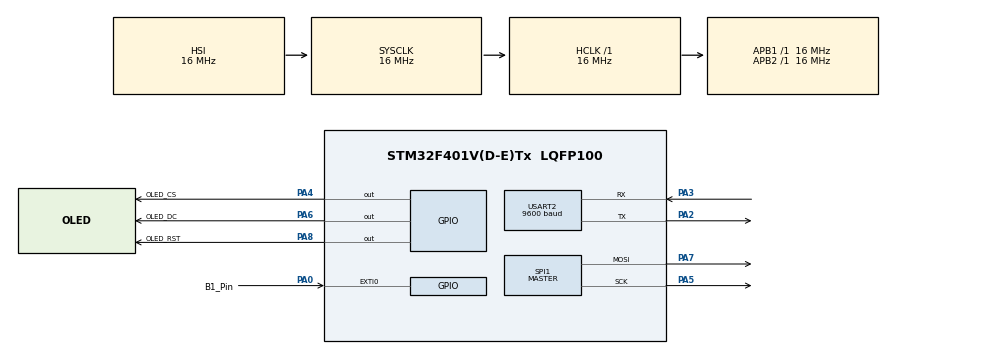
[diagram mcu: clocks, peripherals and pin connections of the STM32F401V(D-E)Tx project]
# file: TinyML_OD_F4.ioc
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Mcu.Family=STM32F4
Mcu.Name=STM32F401V(D-E)Tx
Mcu.Package=LQFP100
NVIC.EXTI0_IRQn=true\:0\:0\:false\:false\:true\:true\:true\:true
NVIC.PriorityGroup=NVIC_PRIORITYGROUP_4
NVIC.USART2_IRQn=true\:0\:0\:false\:false\:true\:true\:true\:true
PA0-WKUP.GPIO_Label=B1_Pin
PA0-WKUP.GPIO_ModeDefaultEXTI=GPIO_MODE_IT_FALLING
PA0-WKUP.GPIO_PuPd=GPIO_PULLUP
PA0-WKUP.Signal=GPXTI0
PA13.Mode=Serial_Wire
PA13.Signal=SYS_JTMS-SWDIO
PA14.Mode=Serial_Wire
PA14.Signal=SYS_JTCK-SWCLK
PA2.Mode=Asynchronous
PA2.Signal=USART2_TX
PA3.Mode=Asynchronous
PA3.Signal=USART2_RX
PA4.GPIO_Label=OLED_CS
PA4.PinState=GPIO_PIN_SET
PA4.Signal=GPIO_Output
PA5.Mode=TX_Only_Simplex_Unidirect_Master
PA5.Signal=SPI1_SCK
PA6.GPIO_Label=OLED_DC
PA6.PinState=GPIO_PIN_SET
PA6.Signal=GPIO_Output
PA7.Mode=TX_Only_Simplex_Unidirect_Master
PA7.Signal=SPI1_MOSI
PA8.GPIO_Label=OLED_RST
PA8.PinState=GPIO_PIN_SET
PA8.Signal=GPIO_Output
ProjectManager.HeapSize=0x4000
ProjectManager.StackSize=0x2000
ProjectManager.TargetToolchain=MDK-ARM V5.32
RCC.48MHZClocksFreq_Value=32000000
RCC.AHBFreq_Value=16000000
RCC.APB1Freq_Value=16000000
RCC.APB1TimFreq_Value=16000000
RCC.APB2Freq_Value=16000000
RCC.APB2TimFreq_Value=16000000
RCC.CortexFreq_Value=16000000
RCC.HCLKFreq_Value=16000000
RCC.HSE_VALUE=25000000
RCC.HSI_VALUE=16000000
RCC.LSE_VALUE=32768
RCC.PLLM=8
RCC.PLLN=64
RCC.SYSCLKFreq_VALUE=16000000
RCC.VCOOutputFreq_Value=128000000
SPI1.Direction=SPI_DIRECTION_2LINES
SPI1.Mode=SPI_MODE_MASTER
SPI1.VirtualType=VM_MASTER
STMicroelectronics.X-CUBE-AI.10.0.0.ActivationBufferSizeList=45016
STMicroelectronics.X-CUBE-AI.10.0.0.ActivationBuffers=pool0
STMicroelectronics.X-CUBE-AI.10.0.0.ActivationNames=pool0
STMicroelectronics.X-CUBE-AI.10.0.0.ActivationSizes=AI_OB_MODEL_DATA_ACTIVATION_1_SIZE
STMicroelectronics.X-CUBE-AI.10.0.0.HeapSize=0x4000
STMicroelectronics.X-CUBE-AI.10.0.0.InternalRamActivationBufferMaxSize=AI_OB_MODEL_DATA_ACTIVATIONS_SIZE
STMicroelectronics.X-CUBE-AI.10.0.0.LatestDirectoryUsed-fb2fbbf6d10c69e260894ae3618b915720636bb1a9a1eeecbf556834b52556cf=D\:\\CreateProject\\TinyML_Obstacle Detection\\Ai_Model
STMicroelectronics.X-CUBE-AI.10.0.0.MaximumNumberOfInputLayer=1
STMicroelectronics.X-CUBE-AI.10.0.0.MaximumNumberOfOutputLayer=1
STMicroelectronics.X-CUBE-AI.10.0.0.MaximumSizeOfInputLayer=1
STMicroelectronics.X-CUBE-AI.10.0.0.MaximumSizeOfOutputLayer=1
STMicroelectronics.X-CUBE-AI.10.0.0.ModelActualCompression-fb2fbbf6d10c69e260894ae3618b915720636bb1a9a1eeecbf556834b52556cf=0.0
STMicroelectronics.X-CUBE-AI.10.0.0.ModelCompression-fb2fbbf6d10c69e260894ae3618b915720636bb1a9a1eeecbf556834b52556cf=High
STMicroelectronics.X-CUBE-AI.10.0.0.ModelFlashOccupation-fb2fbbf6d10c69e260894ae3618b915720636bb1a9a1eeecbf556834b52556cf=23744
STMicroelectronics.X-CUBE-AI.10.0.0.ModelHashList=fb2fbbf6d10c69e260894ae3618b915720636bb1a9a1eeecbf556834b52556cf
STMicroelectronics.X-CUBE-AI.10.0.0.ModelKind-fb2fbbf6d10c69e260894ae3618b915720636bb1a9a1eeecbf556834b52556cf=ONNX
STMicroelectronics.X-CUBE-AI.10.0.0.ModelMacc-fb2fbbf6d10c69e260894ae3618b915720636bb1a9a1eeecbf556834b52556cf=296155
STMicroelectronics.X-CUBE-AI.10.0.0.ModelName-fb2fbbf6d10c69e260894ae3618b915720636bb1a9a1eeecbf556834b52556cf=ob_model
STMicroelectronics.X-CUBE-AI.10.0.0.ModelNameList=ob_model
STMicroelectronics.X-CUBE-AI.10.0.0.ModelRamOccupation-fb2fbbf6d10c69e260894ae3618b915720636bb1a9a1eeecbf556834b52556cf=45016
STMicroelectronics.X-CUBE-AI.10.0.0.ModelStructureFile-fb2fbbf6d10c69e260894ae3618b915720636bb1a9a1eeecbf556834b52556cf=D\:\\CreateProject\\TinyML_Obstacle Detection\\Ai_Model\\obstacle_model.onnx
STMicroelectronics.X-CUBE-AI.10.0.0.ModelType-fb2fbbf6d10c69e260894ae3618b915720636bb1a9a1eeecbf556834b52556cf=STM32Cube.AI MCU runtime
STMicroelectronics.X-CUBE-AI.10.0.0.ReadyForCodeGeneration=true
STMicroelectronics.X-CUBE-AI.10.0.0.StackSize=0x2000
STMicroelectronics.X-CUBE-AI.10.0.0.WorkingBufferStartAddrList=0xFFFFFFFF
STMicroelectronics.X-CUBE-AI.10.0.0.XAaCUBEAaAICcArtificialOoIntelligenceJjCore=true
STMicroelectronics.X-CUBE-AI.10.0.0.copyWeightToRam-fb2fbbf6d10c69e260894ae3618b915720636bb1a9a1eeecbf556834b52556cf=false
STMicroelectronics.X-CUBE-AI.10.0.0.customLayerConfigEnabled-fb2fbbf6d10c69e260894ae3618b915720636bb1a9a1eeecbf556834b52556cf=false
STMicroelectronics.X-CUBE-AI.10.0.0.noOnnxIoTranspose-fb2fbbf6d10c69e260894ae3618b915720636bb1a9a1eeecbf556834b52556cf=false
STMicroelectronics.X-CUBE-AI.10.0.0.optimization-fb2fbbf6d10c69e260894ae3618b915720636bb1a9a1eeecbf556834b52556cf=ram
STMicroelectronics.X-CUBE-AI.10.0.0.useInputAllocation-fb2fbbf6d10c69e260894ae3618b915720636bb1a9a1eeecbf556834b52556cf=true
STMicroelectronics.X-CUBE-AI.10.0.0.useOutputAllocation-fb2fbbf6d10c69e260894ae3618b915720636bb1a9a1eeecbf556834b52556cf=true
USART2.BaudRate=9600
USART2.VirtualMode=VM_ASYNC
VP_CRC_VS_CRC.Mode=CRC_Activate
VP_STMicroelectronics.X-CUBE-AI_VS_ArtificialOoIntelligenceJjXAaCUBEAaAI_10.0.0.Mode=ArtificialOoIntelligenceJjXAaCUBEAaAI
board=custom

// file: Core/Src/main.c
/* USER CODE BEGIN Header */
/**
  ******************************************************************************
  * @file           : main.c
  * @brief          : Main program body
  ******************************************************************************
  * @attention
  *
  * Copyright (c) 2026 STMicroelectronics.
  * All rights reserved.
  *
  * This software is licensed under terms that can be found in the LICENSE file
  * in the root directory of this software component.
  * If no LICENSE file comes with this software, it is provided AS-IS.
  *
  ******************************************************************************
  */
/* USER CODE END Header */
#include "main.h"
#include "crc.h"
#include "spi.h"
#include "usart.h"
#include "gpio.h"

/* USER CODE BEGIN Includes */
#include "infer_engine.h"
#include "risk_calc.h"
#include "fsm_controller.h"
#include "sensor_sim.h"

#include <stdio.h>
#include <string.h>

#include "ili9341.h"
/* USER CODE END Includes */

void SystemClock_Config(void);
/* USER CODE BEGIN PFP */
void Update_GLCD_With_Frame(const uint8_t *frame_buffer);
/* USER CODE END PFP */

/* USER CODE BEGIN 0 */
#define TX_BUFFER_SIZE 300
char tx_buffer[TX_BUFFER_SIZE];
volatile uint8_t tx_flag = 1;
uint32_t tx_flag_timeout = 0;

VehicleState_t my_vehicle_state = {0};
uint8_t probability = 0;
uint8_t live_camera_frame[9216];
extern char result_buffer[200];
/* USER CODE END 0 */

int main(void)
{

  /* MCU Configuration--------------------------------------------------------*/

  /* Reset of all peripherals, Initializes the Flash interface and the Systick. */
  HAL_Init();

  /* Configure the system clock */
  SystemClock_Config();

  /* Initialize all configured peripherals */
  MX_GPIO_Init();
  MX_USART2_UART_Init();
  MX_CRC_Init();
  MX_SPI1_Init();
  /* USER CODE BEGIN 2 */

  FSM_Init();

	ILI9341_Init();
  ILI9341_FillScreen(ILI9341_BLACK);

  if (InferEngine_Init())
  {
      char err_msg[] = "AI Engine Init Failed!\r\n";
      HAL_UART_Transmit(&huart2, (uint8_t*)err_msg, strlen(err_msg), HAL_MAX_DELAY);
      Error_Handler();
  }

  /* USER CODE END 2 */

  /* Infinite loop */
  /* USER CODE BEGIN WHILE */

  while (1)
  {

		uint8_t prob = SensorSim_CaptureDynamicFrame(live_camera_frame);
		probability = prob;

		FSM_Update(probability, &my_vehicle_state);

		Update_GLCD_With_Frame(live_camera_frame);

		SystemState_t currentState = FSM_GetState();
    if (currentState == STATE_NORMAL)
    {
       ILI9341_WriteString(20, 20, "State= Safe      ", ILI9341_GREEN, ILI9341_BLACK);
    }
    else if (currentState == STATE_WARNING)
    {
       ILI9341_WriteString(20, 20, "State= Warning   ", ILI9341_YELLOW, ILI9341_BLACK);
    }
    else
    {
       ILI9341_WriteString(20, 20, "State= BRAKING!  ", ILI9341_RED, ILI9341_BLACK);
    }

		char lcd_buf[32];

      snprintf(lcd_buf, sizeof(lcd_buf), "Prob : %d%%     ", probability);
      ILI9341_WriteString(20, 35, lcd_buf, ILI9341_WHITE, ILI9341_BLACK);

      if (my_vehicle_state.ttc_ms > 0 && my_vehicle_state.ttc_ms < 9999) {
          snprintf(lcd_buf, sizeof(lcd_buf), "TTC  : %d ms   ", my_vehicle_state.ttc_ms);
          ILI9341_WriteString(20, 50, lcd_buf, ILI9341_CYAN, ILI9341_BLACK);
      } else {
          ILI9341_WriteString(20, 50, "TTC  : Safe/None  ", ILI9341_DARKGREY, ILI9341_BLACK);
      }

		if (tx_flag || (HAL_GetTick() - tx_flag_timeout > 1500))
    {
        tx_flag = 0;
				tx_flag_timeout = HAL_GetTick();
				int offset = 0;

				if (result_buffer[0] != '\0')
        {
            offset += snprintf(tx_buffer + offset,
                                (size_t)(TX_BUFFER_SIZE - offset),
                                 "%s", result_buffer);
            if (offset < 0 || offset >= TX_BUFFER_SIZE)
            {
                offset = TX_BUFFER_SIZE - 1;
            }

            result_buffer[0] = '\0';
         }

         offset += snprintf(tx_buffer + offset,
                             (size_t)(TX_BUFFER_SIZE - offset),
                             "State: %d\r\n",
                             FSM_GetState());

        HAL_UART_Transmit_IT(&huart2, (uint8_t*)tx_buffer, strlen(tx_buffer));
    }

		HAL_Delay(250);

    /* USER CODE END WHILE */

  }
}

void SystemClock_Config(void)
{
  RCC_OscInitTypeDef RCC_OscInitStruct = {0};
  RCC_ClkInitTypeDef RCC_ClkInitStruct = {0};

  /** Configure the main internal regulator output voltage
  */
  __HAL_RCC_PWR_CLK_ENABLE();
  __HAL_PWR_VOLTAGESCALING_CONFIG(PWR_REGULATOR_VOLTAGE_SCALE2);

  /** Initializes the RCC Oscillators according to the specified parameters
  * in the RCC_OscInitTypeDef structure.
  */
  RCC_OscInitStruct.OscillatorType = RCC_OSCILLATORTYPE_HSI;
  RCC_OscInitStruct.HSIState = RCC_HSI_ON;
  RCC_OscInitStruct.HSICalibrationValue = RCC_HSICALIBRATION_DEFAULT;
  RCC_OscInitStruct.PLL.PLLState = RCC_PLL_NONE;
  if (HAL_RCC_OscConfig(&RCC_OscInitStruct) != HAL_OK)
  {
    Error_Handler();
  }

  /** Initializes the CPU, AHB and APB buses clocks
  */
  RCC_ClkInitStruct.ClockType = RCC_CLOCKTYPE_HCLK|RCC_CLOCKTYPE_SYSCLK
                              |RCC_CLOCKTYPE_PCLK1|RCC_CLOCKTYPE_PCLK2;
  RCC_ClkInitStruct.SYSCLKSource = RCC_SYSCLKSOURCE_HSI;
  RCC_ClkInitStruct.AHBCLKDivider = RCC_SYSCLK_DIV1;
  RCC_ClkInitStruct.APB1CLKDivider = RCC_HCLK_DIV1;
  RCC_ClkInitStruct.APB2CLKDivider = RCC_HCLK_DIV1;

  if (HAL_RCC_ClockConfig(&RCC_ClkInitStruct, FLASH_LATENCY_0) != HAL_OK)
  {
    Error_Handler();
  }
}

/* USER CODE BEGIN 4 */

#define COLOR_BLACK  0x0000
#define COLOR_RED    0xF800

void Update_GLCD_With_Frame(const uint8_t *frame_buffer)
{
    uint16_t offset_lcd_x = (240 - 96) / 2;
    uint16_t offset_lcd_y = (320 - 96) / 2;

    for(uint16_t y = 0; y < 96; y++)
    {
        for(uint16_t x = 0; x < 96; x++)
        {
            uint16_t array_index = (y * 96) + x;
            uint8_t pixel_val = frame_buffer[array_index];

            uint16_t r = (pixel_val >> 3) & 0x1F;
            uint16_t g = (pixel_val >> 2) & 0x3F;
            uint16_t b = (pixel_val >> 3) & 0x1F;

            uint16_t final_color = (r << 11) | (g << 5) | b;

            ILI9341_DrawPixel(x + offset_lcd_x, y + offset_lcd_y, final_color);
        }
    }
}

void HAL_GPIO_EXTI_Callback(uint16_t GPIO_Pin)
{
    if (GPIO_Pin == B1_Pin_Pin)
    {
        SensorSim_NextScenario();
    }
}

void UART_Print(const char *msg) {
    HAL_UART_Transmit(&huart2, (uint8_t*)msg, strlen(msg), HAL_MAX_DELAY);
}

void HAL_UART_TxCpltCallback(UART_HandleTypeDef *huart)
{
    if (huart->Instance == USART2)
    {
			  tx_flag = 1;
    }
}
int fputc(int ch, FILE *f) {
    HAL_UART_Transmit(&huart2, (uint8_t *)&ch, 1, HAL_MAX_DELAY);
    return ch;
}
/* USER CODE END 4 */

void Error_Handler(void)
{
  __disable_irq();
  while (1)
  {
  }
}
